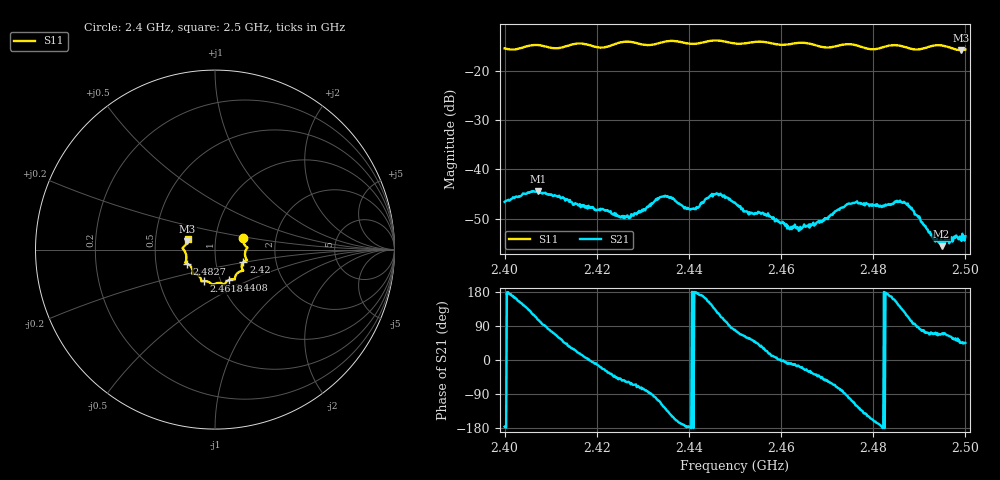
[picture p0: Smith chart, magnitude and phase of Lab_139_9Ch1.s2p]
# Hz S RI R 50
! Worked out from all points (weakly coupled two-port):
!   601 points, 2.4 GHz to 2.5 GHz, reference 50 ohm
!   highest |S21| = -44.39 dB at 2.4073 GHz (marker M1); lowest = -55.6 dB at 2.4948 GHz (marker M2)
!   lowest |S11| = -15.9 dB at 2.499 GHz (marker M3), VSWR 1.38, Z = 36.5 + j3.51 ohm
!   |S11| at or under -10 dB: start of sweep to end of sweep
!   S12 and S22 are empty: the file has one direction only
!   S11 on the Smith chart (normalised r, x): 2.4 GHz: 1.36, +0.17; 2.42 GHz: 1.36, -0.19; 2.4408 GHz: 1.10, -0.39; 2.4618 GHz: 0.84, -0.30; 2.4827 GHz: 0.72, -0.12; 2.5 GHz: 0.73, +0.09
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2.4e9  0.1559 0.0619  -0.00467 -0.000324  0 0  0 0
2.407333e9  0.1808 0.0101  -0.00163 0.00581  0 0  0 0
2.411333e9  0.167 -0.0215  0.00236 0.00477  0 0  0 0
2.416667e9  0.1782 -0.0592  0.00418 0.00101  0 0  0 0
2.42e9  0.1583 -0.0692  0.00377 -0.000785  0 0  0 0
2.426833e9  0.1569 -0.1179  0.00176 -0.00275  0 0  0 0
2.433333e9  0.1121 -0.152  -0.00146 -0.00475  0 0  0 0
2.435333e9  0.1108 -0.1648  -0.00376 -0.00383  0 0  0 0
2.440833e9  0.079 -0.1689  -0.00398 9.35e-05  0 0  0 0
2.445833e9  0.0517 -0.1951  -0.00368 0.00427  0 0  0 0
2.45e9  0.0278 -0.186  0.000838 0.00452  0 0  0 0
2.4525e9  0.00281 -0.1897  0.00192 0.00324  0 0  0 0
2.461833e9  -0.0602 -0.1751  0.00244 -0.000389  0 0  0 0
2.466667e9  -0.077 -0.1684  0.00229 -0.00153  0 0  0 0
2.474833e9  -0.1267 -0.1351  -0.000852 -0.00442  0 0  0 0
2.482667e9  -0.1572 -0.0779  -0.00439 0.000154  0 0  0 0
2.483333e9  -0.1613 -0.0764  -0.00441 0.000641  0 0  0 0
2.487167e9  -0.161 -0.0592  -0.00213 0.00394  0 0  0 0
2.493e9  -0.1787 0.00452  0.000733 0.00184  0 0  0 0
2.494833e9  -0.1796 0.0106  0.00059 0.00156  0 0  0 0
2.499e9  -0.1542 0.0469  0.00139 0.00139  0 0  0 0
2.5e9  -0.1519 0.0614  0.00148 0.0015  0 0  0 0
